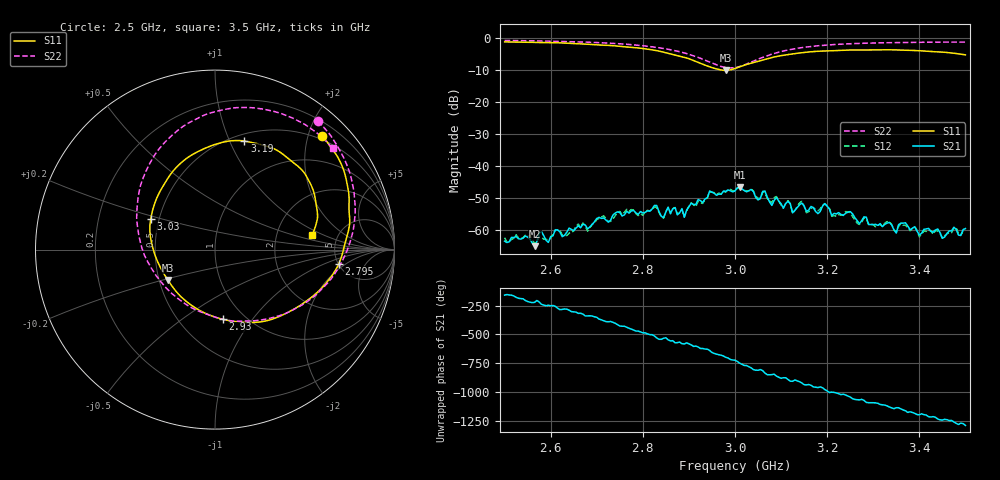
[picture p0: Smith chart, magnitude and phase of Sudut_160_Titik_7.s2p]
# Hz S RI R 50
! CMT, C1220, 16058040, 17.2.0/1
! Date: 15/08/2018 10:08:52
! Data: Format (Calibration Info)
! Freq  S11: Re/Im (F2)  S21: Re/Im (F2)  S12: Re/Im (F2)  S22: Re/Im (F2)
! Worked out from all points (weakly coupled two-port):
!   201 points, 2.5 GHz to 3.5 GHz, reference 50 ohm
!   highest |S21| = -46.53 dB at 3.01 GHz (marker M1); lowest = -64.9 dB at 2.565 GHz (marker M2)
!   lowest |S11| = -10.1 dB at 2.98 GHz (marker M3), VSWR 1.91, Z = 27.8 - j10.4 ohm
!   |S11| at or under -10 dB: 2.972395 GHz to 2.986348 GHz (13.95 MHz wide, 0.468 % of centre)
!   |S22| runs from -9.3 to -0.7 dB; largest |S21 - S12| = 0.00036
!   S11 on the Smith chart (normalised r, x): 2.5 GHz: 0.43, +2.25; 2.795 GHz: 5.05, -1.55; 2.93 GHz: 0.79, -0.73; 3.03 GHz: 0.45, +0.18; 3.19 GHz: 0.57, +1.14; 3.5 GHz: 3.23, +0.75
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2.5e9  0.5986 0.6338  -0.000641 -0.000232  -0.000697 -0.000334  0.573 0.7163
2.565e9  0.6672 0.5411  -0.000418 0.000386  -0.000404 0.000475  0.6456 0.6335
2.58e9  0.6843 0.5145  -0.000484 0.000828  -0.000377 0.000681  0.6614 0.6102
2.595e9  0.6974 0.4891  -0.000248 0.000603  -0.000282 0.000652  0.6757 0.5871
2.67e9  0.745 0.3157  0.00102 0.000735  0.00112 0.000679  0.7456 0.4433
2.795e9  0.6896 -0.0796  -0.000923 -0.00175  -0.000863 -0.00161  0.7623 0.0766
2.835e9  0.5848 -0.2241  -0.00196 4.83e-05  -0.00192 -3.56e-05  0.7017 -0.0773
2.89e9  0.3154 -0.3888  -0.00121 0.00107  -0.00122 0.00104  0.5074 -0.2937
2.93e9  0.042 -0.3881  -0.000451 0.00269  -0.000558 0.00258  0.2556 -0.3923
2.98e9  -0.263 -0.1689  0.00374 0.00158  0.00361 0.00165  -0.1373 -0.3203
3e9  -0.334 -0.0316  0.00413 -0.000159  0.00416 -0.000366  -0.2744 -0.2111
3.01e9  -0.3532 0.037  0.00421 -0.00213  0.0041 -0.00202  -0.3296 -0.143
3.03e9  -0.3585 0.1692  0.00223 -0.00351  0.00223 -0.0035  -0.4073 0.00923
3.115e9  -0.1001 0.5436  -0.00279 -0.000596  -0.00287 -0.000537  -0.2952 0.5806
3.125e9  -0.0603 0.5627  -0.00188 0.000131  -0.00185 0.000137  -0.2555 0.6217
3.145e9  0.0163 0.5907  -0.00254 0.000851  -0.00266 0.00104  -0.1767 0.6874
3.17e9  0.101 0.607  -0.00139 0.00179  -0.00151 0.00169  -0.0763 0.7418
3.19e9  0.1642 0.6051  -0.00119 0.00209  -0.00109 0.00221  -0.0016 0.7677
3.27e9  0.3736 0.5348  0.00123 0.000341  0.00119 0.000355  0.2559 0.7851
3.335e9  0.4913 0.4355  0.000926 -0.000964  0.000914 -0.00102  0.4087 0.7428
3.45e9  0.5712 0.1936  -0.000704 -0.000272  -0.000696 -0.00031  0.5992 0.6231
3.5e9  0.5412 0.0816  -0.000967 0.000459  -0.000833 0.000455  0.6572 0.5639
